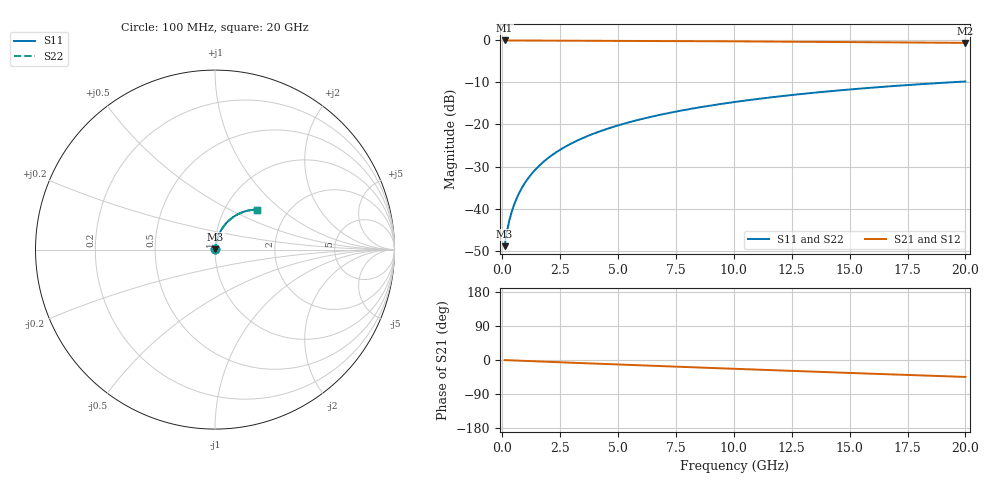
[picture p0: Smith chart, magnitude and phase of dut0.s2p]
! Touchstone file exported from HFSS 2026.1.0
!  File:  C:/ffzhzh/LocalFiles/Ansys_Project_Files/temp_train_BSMRDL_0_1782881685_8056.aedt
!  Generated:  12:56:05 PM Jul  1, 2026
!  Design:  BSMRDL
!  Project:  temp_train_BSMRDL_0_1782881685_8056
! Variables:
!  h_bsmrdl = 4.41um
!  h_ox = 20um
!  h_rdl = 5um
!  h_sub = 80um
!  h_tmrdl = 5um
!  h_tsv = 80um
!  h_via = 3um
!  l_bsmrdl = 710.52um
!  l_sub = 1110.52um
!  l_tmrdl = 200um
!  m_sub = 200um
!  pitch = 41.26um
!  r_tsv = 6um
!  s_tmrdl = 10um
!  w_bsmrdl = 22.44um
!  w_sub = 500um
!  w_tmrdl = 12um
!  x_tsv_center1 = 206um
!  x_tsv_center2 = 938.96um
!  x_tsv_center3 = 1150.96um
!  x_tsv_center4 = 1883.92um
!  x_tsv_center5 = 2095.92um
!  x_tsv_center6 = 2828.88um
# GHz S MA R 50.000000
! Terminal data exported
! Port[1] = BSM_RDL1_1_T1
! Port[2] = BSM_RDL1_1_T2
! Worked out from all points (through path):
!   200 points, 100 MHz to 20 GHz, reference 50 ohm
!   highest |S21| = -0.02 dB at 100 MHz (marker M1); lowest = -0.6 dB at 20 GHz (marker M2)
!   group delay of S21, straight-line fit = 6.2 ps
!   lowest |S11| = -48.9 dB at 100 MHz (marker M3), VSWR 1.01, Z = 50.3 + j0.229 ohm
!   |S11| at or under -10 dB: start of sweep to 19.28 GHz
!   |S22| runs from -48.9 to -9.8 dB; largest |S21 - S12| = 3.1e-15
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0.1  0.003578 39.6  0.9973 -0.3  0.9973 -0.3  0.003578 39.6
! Gamma 0 0 0 0
! Port Impedance 50 0 50 0
0.2  0.005327 55.9  0.997 -0.5  0.997 -0.5  0.005327 55.9
0.3  0.007178 63.5  0.9969 -0.7  0.9969 -0.7  0.007178 63.5
0.4  0.009051 68.0  0.9967 -1.0  0.9967 -1.0  0.009051 68.0
0.5  0.01094 71.0  0.9966 -1.2  0.9966 -1.2  0.01094 71.0
0.6  0.01286 73.2  0.9965 -1.5  0.9965 -1.5  0.01286 73.2
0.8  0.01674 76.0  0.9964 -1.9  0.9964 -1.9  0.01674 76.0
1.1  0.02262 78.1  0.9961 -2.7  0.9961 -2.7  0.02262 78.1
1.3  0.02657 78.8  0.9959 -3.1  0.9959 -3.1  0.02657 78.8
1.6  0.03249 79.2  0.9956 -3.8  0.9956 -3.8  0.03249 79.2
2.1  0.04232 79.2  0.9949 -5.0  0.9949 -5.0  0.04232 79.2
2.7  0.05402 78.6  0.9939 -6.5  0.9939 -6.5  0.05403 78.6
3.5  0.06941 77.3  0.9923 -8.3  0.9923 -8.3  0.06941 77.3
4.2  0.08265 75.9  0.9907 -10.0  0.9907 -10.0  0.08265 75.9
5  0.09752 74.3  0.9887 -11.8  0.9887 -11.8  0.09753 74.3
5.9  0.1139 72.4  0.9863 -13.9  0.9863 -13.9  0.1139 72.5
6.8  0.13 70.6  0.9837 -16.0  0.9837 -16.0  0.13 70.6
8.3  0.1561 67.4  0.979 -19.4  0.979 -19.4  0.1561 67.4
10.1  0.1862 63.6  0.9728 -23.4  0.9728 -23.4  0.1862 63.6
13.4  0.2376 56.7  0.9604 -30.7  0.9604 -30.7  0.2376 56.7
16.7  0.2839 49.9  0.9471 -37.8  0.9471 -37.8  0.2839 49.9
20  0.3245 43.2  0.9335 -44.7  0.9335 -44.7  0.3246 43.2
